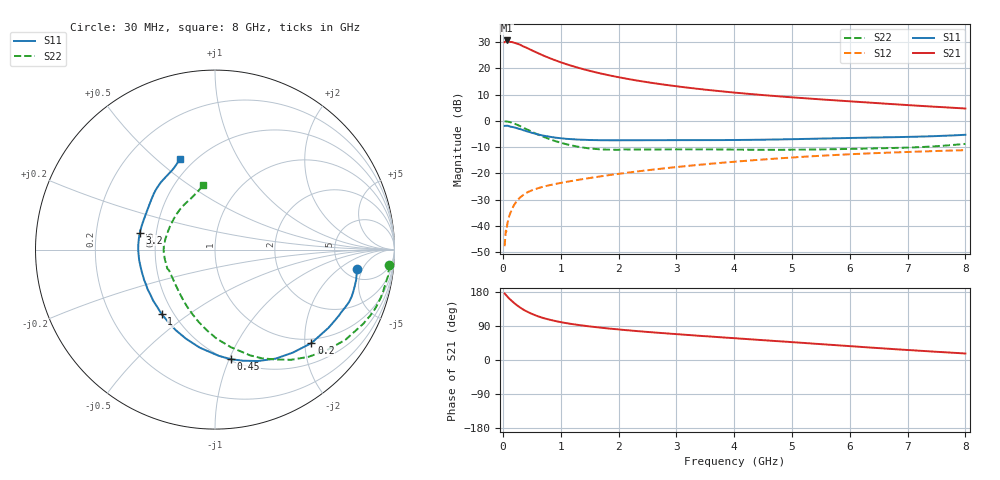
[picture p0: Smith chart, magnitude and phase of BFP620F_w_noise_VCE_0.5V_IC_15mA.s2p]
! Infineon Technologies  Discrete & RF Semiconductors
! BFP620F
! VCE =  0.5 V,  IC =  15 mA
! Common Emitter S-Parameters:  Dec 2014
# GHz  S  MA  R  50
!  f  S11  S21  S12  S22
! GHz  MAG  ANG  MAG  ANG  MAG  ANG  MAG  ANG
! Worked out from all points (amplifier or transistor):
!   95 points, 30 MHz to 8 GHz, reference 50 ohm
!   highest |S21| = 30.6 dB at 70 MHz (marker M1)
!   |S21| within 3 dB of that: start of sweep to 430.9 MHz
!   unconditionally stable (mu >= 1): 3.237 GHz to end of sweep
!   at 300 MHz: K = 0.22, MSG = 29.1 dB, |S12| = -29.1 dB
!   at 3.3 GHz: K = 1.00, MAG = 14.4 dB, |S12| = -17.0 dB
!   at 8 GHz: K = 1.08, MAG = 6.2 dB, |S12| = -11.2 dB
!   lowest NFmin = 0.71 dB at 450 MHz
!   S11 on the Smith chart (normalised r, x): 30 MHz: 6.54, -4.02; 200 MHz: 0.91, -2.15; 450 MHz: 0.51, -1.02; 1 GHz: 0.43, -0.40; 3.2 GHz: 0.40, +0.09; 8 GHz: 0.42, +0.60
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0.03  0.8011 -7.9  31.51 175.4  0.0041 95.2  0.9742 -5.1
0.05  0.8046 -12.3  33.12 172.1  0.0081 93.4  0.9753 -8.7
0.07  0.8053 -16.7  33.91 168.7  0.0095 81.0  0.9672 -12.4
0.12  0.7816 -28.3  31.91 160.7  0.0164 79.9  0.9468 -21.4
0.15  0.7681 -34.5  31.78 156.5  0.02 76.1  0.9241 -26.5
0.2  0.7483 -44.1  30.58 149.8  0.0256 70.6  0.8839 -34.6
0.25  0.7194 -52.9  29.44 143.7  0.0306 66.5  0.8378 -42.1
0.3  0.6952 -60.9  28.06 138.3  0.0349 63.8  0.7914 -49.1
0.35  0.6654 -68.9  26.2 133.4  0.0385 60.7  0.7458 -55.4
0.45  0.6172 -81.7  23.46 125.3  0.0448 56.5  0.6599 -66.6
0.6  0.553 -98.8  19.61 115.7  0.0518 52.5  0.5513 -80.7
0.7  0.5223 -108.0  17.51 110.7  0.0557 50.9  0.4965 -88.9
0.8  0.4993 -116.0  15.76 106.7  0.0592 49.9  0.4509 -95.9
1  0.4662 -129.6  13.04 100.0  0.0656 49.3  0.3831 -108.8
1.4  0.4357 -149.4  9.572 90.6  0.0782 49.2  0.3082 -131.0
2  0.4255 -169.0  6.772 80.7  0.0977 49.4  0.2809 -156.0
2.7  0.4282 175.9  5.047 71.7  0.1213 47.7  0.2847 -171.9
3.2  0.4286 167.3  4.276 66.1  0.1384 46.0  0.2861 -179.9
4.1  0.432 154.4  3.374 56.5  0.1696 41.7  0.2821 167.5
5.4  0.4564 139.7  2.607 42.9  0.2129 33.4  0.2846 146.6
6.7  0.4866 125.4  2.093 29.4  0.2483 23.8  0.303 124.9
8  0.5419 111.2  1.716 17.1  0.2763 14.3  0.3639 100.4
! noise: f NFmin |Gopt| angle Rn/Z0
0.45  0.71  0.15  6  0.2
0.9  0.77  0.14  18  0.18
1.5  0.82  0.13  20  0.13
1.8  0.85  0.13  21  0.11
1.9  0.86  0.09  36  0.14
2.4  0.9  0.08  52  0.12
3.5  0.98  0.06  85  0.13
5.5  1.13  0.11  208  0.08
6  1.17  0.11  235  0.13
